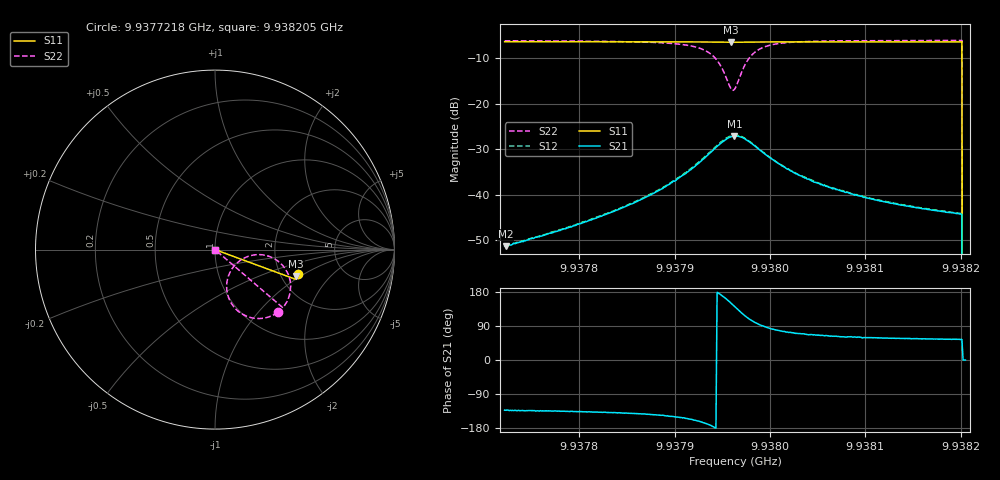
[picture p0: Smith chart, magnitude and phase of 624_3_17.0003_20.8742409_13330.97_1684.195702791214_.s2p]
#  HZ  S  RI  R  50.00
! Rohde & Schwarz Vector Network Analyzer
! Rohde-Schwarz,ZNB20-2Port,1311601062101988,3.16
! Created: UTC 3/20/2024, 11:20:04 PM
! freq[Hz]  re:S11  im:S11  re:S21  im:S21  re:S12  im:S12  re:S22  im:S22
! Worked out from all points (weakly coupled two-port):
!   400 points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, 9.9377218 GHz to 9.938205 GHz, reference 50 ohm
!   highest |S21| = -27.10 dB at 9.9379628 GHz (marker M1); lowest = -51.4 dB at 9.937723 GHz (marker M2)
!   lowest |S11| = -6.5 dB at 9.9379592 GHz (marker M3), VSWR 2.81, Z = 120 - j46.2 ohm
!   |S11| at or under -10 dB: 9.9382014 GHz to end of sweep
!   |S22| runs from - to -6.1 dB; largest |S21 - S12| = 0.002
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9.93772181e9  0.4623 -0.1359  -0.00183 -0.00201  -0.00187 -0.00196  0.3495 -0.3491
9.93772302e9  0.4622 -0.136  -0.00183 -0.00199  -0.00192 -0.00197  0.3493 -0.3491
9.93780295e9  0.46 -0.1416  -0.00351 -0.00335  -0.00362 -0.00339  0.3299 -0.3615
9.93784897e9  0.4587 -0.1448  -0.0057 -0.00477  -0.00583 -0.00474  0.3084 -0.3718
9.93788289e9  0.4575 -0.1473  -0.00907 -0.00627  -0.00935 -0.00626  0.2778 -0.3809
9.93791437e9  0.4561 -0.1496  -0.0162 -0.00749  -0.0168 -0.00747  0.2161 -0.3823
9.93793496e9  0.4541 -0.1509  -0.0269 -0.00491  -0.0278 -0.00455  0.1336 -0.3466
9.93794708e9  0.4525 -0.1508  -0.0355 0.00332  -0.0364 0.00431  0.0752 -0.266
9.93795919e9  0.4514 -0.1494  -0.0377 0.0216  -0.0379 0.0233  0.0891 -0.1163
9.93796282e9  0.4517 -0.149  -0.0346 0.0274  -0.0342 0.0292  0.1231 -0.0743
9.93796403e9  0.4516 -0.1489  -0.0331 0.0291  -0.0328 0.0309  0.1371 -0.0628
9.93797009e9  0.4524 -0.1482  -0.0244 0.0352  -0.0235 0.0367  0.2171 -0.0297
9.93797614e9  0.4534 -0.1483  -0.0149 0.0367  -0.0139 0.0376  0.2927 -0.035
9.93798825e9  0.4547 -0.1493  -0.00237 0.0317  -0.00137 0.032  0.3831 -0.0956
9.93800158e9  0.4551 -0.151  0.00351 0.0247  0.00396 0.0248  0.4157 -0.1601
9.93801732e9  0.4553 -0.1525  0.00544 0.0186  0.00577 0.0187  0.4214 -0.2104
9.93804397e9  0.4547 -0.1549  0.00546 0.013  0.00598 0.0131  0.4143 -0.2564
9.93807909e9  0.4538 -0.1576  0.0052 0.00921  0.00533 0.00917  0.4027 -0.2863
9.93812511e9  0.4525 -0.1609  0.00436 0.00683  0.00454 0.00689  0.391 -0.3065
9.93820141e9  0.4503 -0.166  0.00356 0.00492  0.00373 0.00499  0.3782 -0.3239
9.93820262e9  0 0  0 0  0 0  0 0
9.93820504e9  0 0  0 0  0 0  0 0
